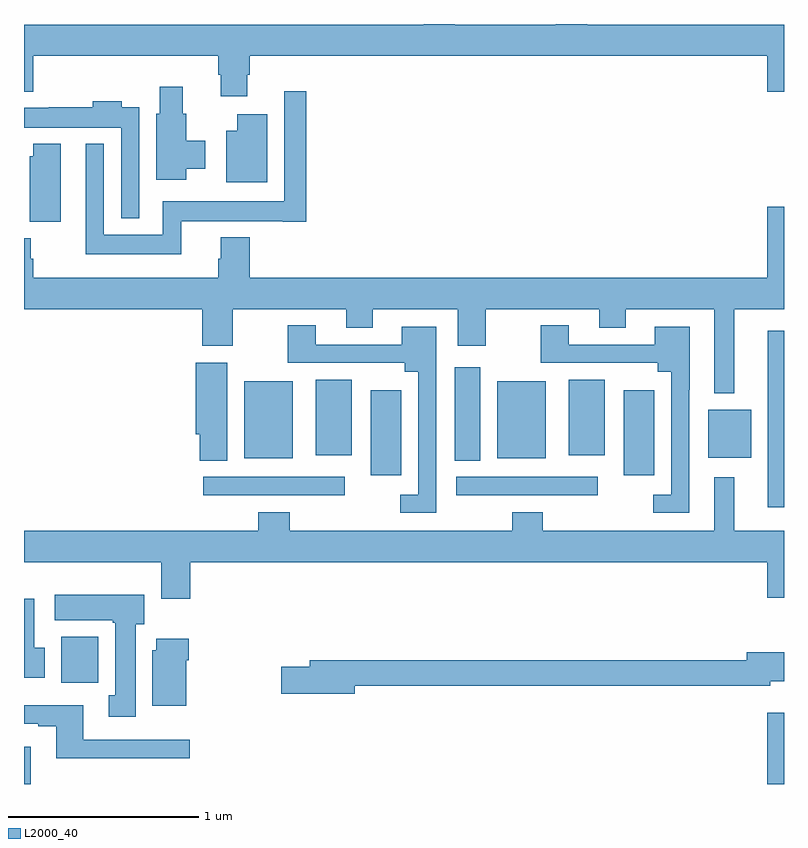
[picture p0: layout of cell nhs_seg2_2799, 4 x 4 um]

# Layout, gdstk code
import gdstk
lib = gdstk.Library(unit=1e-6, precision=1e-09)
def R(c, l, rs):  # rectangles x0, y0, x1, y1
    for r in rs: c.add(gdstk.rectangle(r[:2], r[2:], *l))
def P(c, l, *ps):  # polygons
    for p in ps: c.add(gdstk.Polygon(p, *l))
L2000_40 = (2000, 40)

nhs_seg2_2799 = lib.new_cell('nhs_seg2_2799')
R(nhs_seg2_2799, L2000_40, [(257,647.8,257.035,647.995), (260.912,647.8,261,648.175), (257.195,648.332,257.392,648.574), (260.915,649.257,261,650.185), (257.943,649.32,258.688,649.416), (259.275,649.32,260.02,649.416), (258.824,649.425,258.985,649.873), (260.156,649.425,260.317,649.873), (259.268,649.501,259.402,649.993), (258.158,649.514,258.415,649.921), (259.49,649.514,259.747,649.921), (260.6,649.517,260.827,649.771), (258.536,649.529,258.724,649.927), (259.868,649.529,260.056,649.927)])
P(nhs_seg2_2799, L2000_40, [(258.175,651.534),(258.188,651.534),(258.188,651.632),(260.912,651.632),(260.912,651.444),(261,651.444),(261,651.796),(259.964,651.796),(259.964,651.8),(259.799,651.8),(259.799,651.796),(259.267,651.796),(259.267,651.8),(259.103,651.8),(259.103,651.796),(257,651.796),(257,651.443),(257.048,651.443),(257.048,651.632),(258.023,651.632),(258.023,651.534),(258.035,651.534),(258.035,651.42),(258.175,651.42)],
  [(257.854,651.038),(257.953,651.038),(257.953,651.186),(257.854,651.186),(257.854,651.327),(257.836,651.327),(257.836,651.469),(257.714,651.469),(257.714,651.327),(257.696,651.327),(257.696,650.979),(257.854,650.979)],
  [(257.828,650.762),(258.362,650.762),(258.362,650.76),(258.485,650.76),(258.485,651.445),(258.369,651.445),(258.369,650.866),(257.73,650.866),(257.73,650.692),(257.421,650.692),(257.421,651.169),(257.324,651.169),(257.324,650.588),(257.828,650.588)],
  [(257.607,651.361),(257.515,651.361),(257.515,651.394),(257.363,651.394),(257.363,651.361),(257.131,651.361),(257.131,651.358),(257,651.358),(257,651.254),(257.511,651.254),(257.511,650.777),(257.607,650.777)],
  [(258.28,651.325),(258.122,651.325),(258.122,651.238),(258.065,651.238),(258.065,650.966),(258.28,650.966)],
  [(257.194,651.169),(257.048,651.169),(257.048,651.105),(257.03,651.105),(257.03,650.758),(257.194,650.758)],
  [(257,650.673),(257,650.3),(257.939,650.3),(257.939,650.106),(258.099,650.106),(258.099,650.3),(258.695,650.3),(258.695,650.201),(258.835,650.201),(258.835,650.3),(259.283,650.3),(259.283,650.106),(259.431,650.106),(259.431,650.3),(260.027,650.3),(260.027,650.201),(260.167,650.201),(260.167,650.3),(260.633,650.3),(260.633,649.856),(260.737,649.856),(260.737,650.3),(261,650.3),(261,650.839),(260.912,650.839),(260.912,650.464),(258.188,650.464),(258.188,650.677),(258.035,650.677),(258.035,650.565),(258.023,650.565),(258.023,650.464),(257.048,650.464),(257.048,650.564),(257.035,650.564),(257.035,650.673)],
  [(259.17,650.206),(258.989,650.206),(258.989,650.112),(258.535,650.112),(258.535,650.215),(258.388,650.215),(258.388,650.016),(259.004,650.016),(259.004,649.97),(259.074,649.97),(259.074,649.323),(258.981,649.323),(258.981,649.227),(259.17,649.227)],
  [(260.502,649.874),(260.503,649.874),(260.503,650.206),(260.321,650.206),(260.321,650.112),(259.867,650.112),(259.867,650.215),(259.72,650.215),(259.72,650.016),(260.336,650.016),(260.336,649.97),(260.406,649.97),(260.406,649.323),(260.313,649.323),(260.313,649.227),(260.502,649.227)],
  [(258.07,650.017),(257.903,650.017),(257.903,649.641),(257.924,649.641),(257.924,649.501),(258.07,649.501)],
  [(260.737,649.414),(260.633,649.414),(260.633,649.132),(259.73,649.132),(259.73,649.231),(259.57,649.231),(259.57,649.132),(258.398,649.132),(258.398,649.231),(258.233,649.231),(258.233,649.132),(257,649.132),(257,648.968),(257.723,648.968),(257.723,648.774),(257.876,648.774),(257.876,648.968),(260.912,648.968),(260.912,648.78),(261,648.78),(261,649.132),(260.737,649.132)],
  [(257.587,648.642),(257.632,648.642),(257.632,648.796),(257.163,648.796),(257.163,648.662),(257.467,648.662),(257.467,648.649),(257.48,648.649),(257.48,648.266),(257.447,648.266),(257.447,648.153),(257.587,648.153)],
  [(257.11,648.516),(257.053,648.516),(257.053,648.775),(257,648.775),(257,648.36),(257.11,648.36)],
  [(257.854,648.452),(257.867,648.452),(257.867,648.565),(257.696,648.565),(257.696,648.504),(257.675,648.504),(257.675,648.212),(257.854,648.212)],
  [(258.742,648.316),(260.928,648.316),(260.928,648.341),(261,648.341),(261,648.493),(260.804,648.493),(260.804,648.452),(258.503,648.452),(258.503,648.416),(258.354,648.416),(258.354,648.274),(258.742,648.274)],
  [(257.872,648.033),(257.311,648.033),(257.311,648.214),(257,648.214),(257,648.117),(257.075,648.117),(257.075,648.105),(257.171,648.105),(257.171,647.936),(257.872,647.936)])

lib.write_gds('nhs_seg2_2799.gds')
